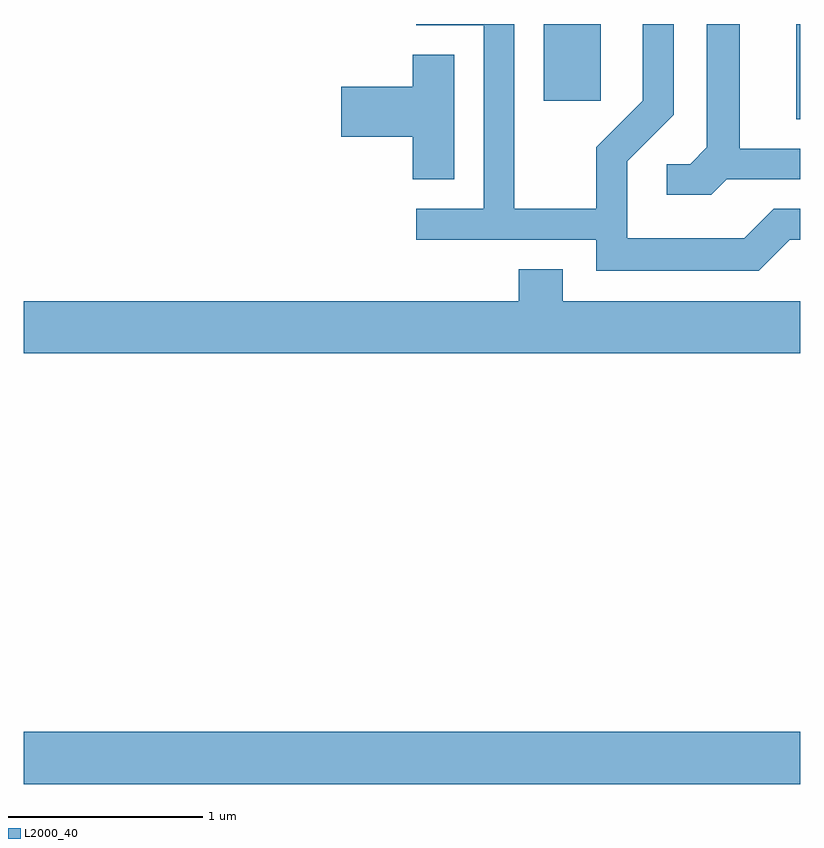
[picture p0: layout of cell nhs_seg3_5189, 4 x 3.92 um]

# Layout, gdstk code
import gdstk
lib = gdstk.Library(unit=1e-6, precision=1e-09)
def R(c, l, rs):  # rectangles x0, y0, x1, y1
    for r in rs: c.add(gdstk.rectangle(r[:2], r[2:], *l))
def P(c, l, *ps):  # polygons
    for p in ps: c.add(gdstk.Polygon(p, *l))
L2000_40 = (2000, 40)

nhs_seg3_5189 = lib.new_cell('nhs_seg3_5189')
R(nhs_seg3_5189, L2000_40, [(337.611,1165.976,341.611,1166.244), (341.591,1169.401,341.611,1169.892), (340.291,1169.496,340.584,1169.892)])
P(nhs_seg3_5189, L2000_40, [(341.232,1169.091),(341.611,1169.091),(341.611,1169.249),(341.299,1169.249),(341.299,1169.892),(341.131,1169.892),(341.131,1169.257),(341.044,1169.169),(340.923,1169.169),(340.923,1169.011),(341.152,1169.011)],
  [(341.557,1168.781),(341.611,1168.781),(341.611,1168.939),(341.474,1168.939),(341.324,1168.789),(340.719,1168.789),(340.719,1169.184),(340.959,1169.424),(340.959,1169.892),(340.801,1169.892),(340.801,1169.497),(340.561,1169.257),(340.561,1168.939),(340.139,1168.939),(340.139,1169.892),(339.633,1169.892),(339.633,1169.886),(339.981,1169.886),(339.981,1168.939),(339.633,1168.939),(339.633,1168.781),(340.561,1168.781),(340.561,1168.621),(341.397,1168.621)],
  [(339.829,1169.734),(339.616,1169.734),(339.616,1169.569),(339.246,1169.569),(339.246,1169.311),(339.616,1169.311),(339.616,1169.091),(339.829,1169.091)],
  [(341.611,1168.464),(340.389,1168.464),(340.389,1168.629),(340.161,1168.629),(340.161,1168.464),(337.611,1168.464),(337.611,1168.196),(341.611,1168.196)])

lib.write_gds('nhs_seg3_5189.gds')
